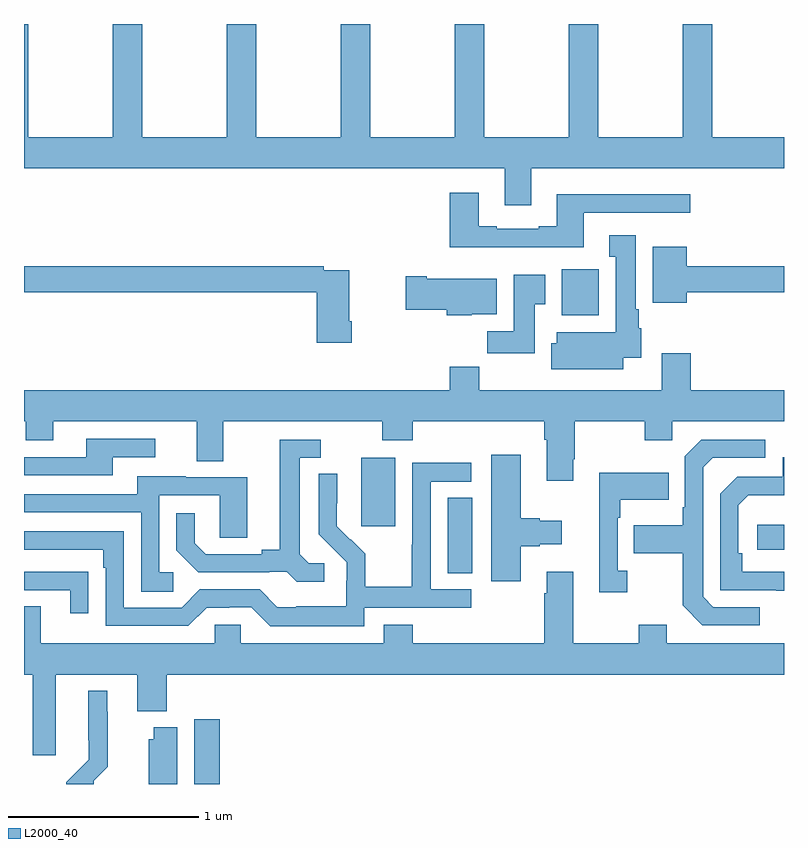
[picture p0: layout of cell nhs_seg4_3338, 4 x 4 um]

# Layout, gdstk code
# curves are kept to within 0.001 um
import gdstk
lib = gdstk.Library(unit=1e-6, precision=1e-09)
def R(c, l, rs):  # rectangles x0, y0, x1, y1
    for r in rs: c.add(gdstk.rectangle(r[:2], r[2:], *l))
def P(c, l, *ps):  # polygons
    for p in ps: c.add(gdstk.Polygon(p, *l))
L2000_40 = (2000, 40)

nhs_seg4_3338 = lib.new_cell('nhs_seg4_3338')
R(nhs_seg4_3338, L2000_40, [(287.897,806.9,288.029,807.241), (289.229,808.009,289.36,808.406), (290.859,808.134,291,808.264), (288.776,808.257,288.955,808.618), (289.829,809.366,290.026,809.608)])
P(nhs_seg4_3338, L2000_40, [(289.669,810.14),(291,810.14),(291,810.304),(290.622,810.304),(290.622,810.9),(290.467,810.9),(290.467,810.304),(290.022,810.304),(290.022,810.9),(289.867,810.9),(289.867,810.304),(289.422,810.304),(289.422,810.9),(289.267,810.9),(289.267,810.304),(288.822,810.304),(288.822,810.9),(288.667,810.9),(288.667,810.304),(288.222,810.304),(288.222,810.9),(288.067,810.9),(288.067,810.304),(287.622,810.304),(287.622,810.9),(287.467,810.9),(287.467,810.304),(287.022,810.304),(287.022,810.9),(287,810.9),(287,810.14),(289.529,810.14),(289.529,809.946),(289.669,809.946)],
  [(289.945,809.907),(290.506,809.907),(290.506,810.004),(289.805,810.004),(289.805,809.836),(289.709,809.836),(289.709,809.823),(289.489,809.823),(289.489,809.836),(289.393,809.836),(289.393,810.013),(289.241,810.013),(289.241,809.726),(289.945,809.726)],
  [(290.155,809.144),(290.248,809.144),(290.248,809.298),(290.236,809.298),(290.236,809.398),(290.221,809.398),(290.221,809.788),(290.081,809.788),(290.081,809.675),(290.114,809.675),(290.114,809.278),(289.805,809.278),(289.805,809.219),(289.775,809.219),(289.775,809.084),(290.155,809.084)],
  [(290.488,809.488),(291,809.488),(291,809.624),(290.488,809.624),(290.488,809.728),(290.309,809.728),(290.309,809.432),(290.488,809.432)],
  [(288.725,809.335),(288.712,809.335),(288.712,809.604),(288.578,809.604),(288.578,809.624),(287,809.624),(287,809.488),(288.542,809.488),(288.542,809.223),(288.725,809.223)],
  [(289.687,809.425),(289.744,809.425),(289.744,809.581),(289.577,809.581),(289.577,809.284),(289.438,809.284),(289.438,809.166),(289.687,809.166)],
  [(289.356,809.372),(289.489,809.372),(289.489,809.56),(289.12,809.56),(289.12,809.573),(289.008,809.573),(289.008,809.395),(289.226,809.395),(289.226,809.366),(289.356,809.366)],
  [(289.397,809.096),(289.241,809.096),(289.241,808.972),(287,808.972),(287,808.808),(287.008,808.808),(287.008,808.709),(287.155,808.709),(287.155,808.808),(287.909,808.808),(287.909,808.6),(288.049,808.6),(288.049,808.808),(288.886,808.808),(288.886,808.709),(289.046,808.709),(289.046,808.808),(289.739,808.808),(289.739,808.712),(289.751,808.712),(289.751,808.497),(289.891,808.497),(289.891,808.609),(289.899,808.609),(289.899,808.808),(290.266,808.808),(290.266,808.709),(290.412,808.709),(290.412,808.808),(291,808.808),(291,808.972),(290.51,808.972),(290.51,809.167),(290.357,809.167),(290.357,808.972),(289.397,808.972)],
  [(287.467,808.62),(287.692,808.62),(287.692,808.716),(287.327,808.716),(287.327,808.62),(287,808.62),(287,808.524),(287.467,808.524)],
  [(288.58,808.062),(288.498,808.062),(288.451,808.109),(288.451,808.617),(288.562,808.617),(288.562,808.713),(288.347,808.713),(288.347,808.133),(288.251,808.133),(288.251,808.11),(287.956,808.11),(287.899,808.167),(287.899,808.324),(287.802,808.324),(287.802,808.13),(287.918,808.014),(288.29,808.014),(288.29,808.017),(288.384,808.017),(288.436,807.965),(288.58,807.965)],
  [(290.872,807.831),(290.628,807.831),(290.574,807.885),(290.574,808.566),(290.625,808.617),(290.902,808.617),(290.902,808.713),(290.565,808.713),(290.478,808.626),(290.478,808.357),(290.466,808.357),(290.466,808.261),(290.209,808.261),(290.209,808.114),(290.466,808.114),(290.466,807.841),(290.571,807.735),(290.872,807.735)],
  [(289.615,808.151),(289.715,808.151),(289.715,808.163),(289.831,808.163),(289.831,808.285),(289.715,808.285),(289.715,808.298),(289.615,808.298),(289.615,808.633),(289.46,808.633),(289.46,807.966),(289.615,807.966)],
  [(291,808.017),(290.78,808.017),(290.78,808.114),(290.76,808.114),(290.76,808.368),(290.813,808.421),(291,808.421),(291,808.62),(290.994,808.62),(290.994,808.518),(290.754,808.518),(290.664,808.428),(290.664,807.921),(290.959,807.921),(290.959,807.916),(291,807.916)],
  [(288.792,807.828),(289.354,807.828),(289.354,807.924),(289.14,807.924),(289.14,808.491),(289.354,808.491),(289.354,808.59),(289.044,808.59),(289.044,808.16),(289.042,808.16),(289.042,807.937),(288.797,807.937),(288.797,808.111),(288.72,808.188),(288.717,808.185),(288.647,808.256),(288.648,808.532),(288.552,808.532),(288.552,808.214),(288.698,808.066),(288.698,807.969),(288.696,807.969),(288.696,807.835),(288.433,807.835),(288.433,807.831),(288.333,807.831),(288.24,807.924),(287.925,807.924),(287.829,807.828),(287.526,807.828),(287.526,808.23),(287,808.23),(287,808.134),(287.417,808.134),(287.417,808.037),(287.43,808.037),(287.43,807.732),(287.865,807.732),(287.961,807.828),(288.08,807.828),(288.08,807.831),(288.195,807.831),(288.295,807.731),(288.792,807.731)],
  [(290.176,808.022),(290.124,808.022),(290.124,808.301),(290.137,808.301),(290.137,808.397),(290.393,808.397),(290.393,808.537),(290.027,808.537),(290.027,807.909),(290.176,807.909)],
  [(287.785,808.014),(287.712,808.014),(287.712,808.419),(288.03,808.419),(288.03,808.195),(288.175,808.195),(288.175,808.515),(287.851,808.515),(287.851,808.519),(287.597,808.519),(287.597,808.425),(287,808.425),(287,808.329),(287.616,808.329),(287.616,807.913),(287.785,807.913)],
  [(287.167,807.476),(287.597,807.476),(287.597,807.284),(287.75,807.284),(287.75,807.476),(291,807.476),(291,807.64),(290.383,807.64),(290.383,807.739),(290.236,807.739),(290.236,807.64),(289.891,807.64),(289.891,808.018),(289.751,808.018),(289.751,807.905),(289.739,807.905),(289.739,807.64),(289.046,807.64),(289.046,807.739),(288.893,807.739),(288.893,807.64),(288.141,807.64),(288.141,807.738),(288.003,807.738),(288.003,807.64),(287.089,807.64),(287.089,807.835),(287,807.835),(287,807.476),(287.045,807.476),(287.045,807.051),(287.167,807.051)],
  [(287.339,808.016),(287.237,808.016),(287.237,808.017),(287,808.017),(287,807.921),(287.243,807.921),(287.243,807.798),(287.339,807.798)],
  [(287.367,806.916),(287.441,806.99),(287.441,807.281),(287.437,807.281),(287.437,807.391),(287.339,807.391),(287.339,807.13),(287.34,807.13),(287.34,807.028),(287.222,806.91),(287.222,806.9),(287.367,806.9)],
  [(287.806,807.199),(287.684,807.199),(287.684,807.135),(287.657,807.135),(287.657,806.9),(287.806,806.9)])

lib.write_gds('nhs_seg4_3338.gds')
